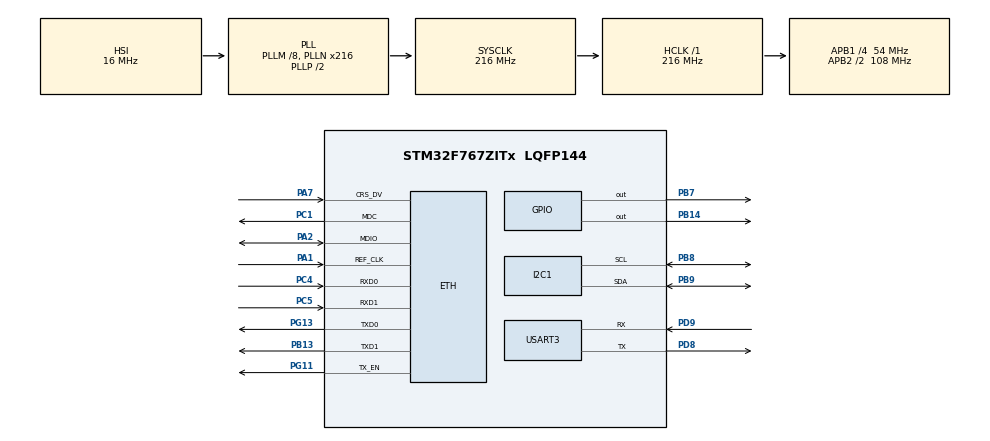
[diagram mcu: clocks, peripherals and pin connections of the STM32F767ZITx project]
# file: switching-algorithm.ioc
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CORTEX_M7.CPU_DCache=Disabled
CORTEX_M7.CPU_ICache=Disabled
CORTEX_M7.default_mode_Activation=1
Dma.I2C1_RX.0.Direction=DMA_PERIPH_TO_MEMORY
Dma.I2C1_RX.0.FIFOMode=DMA_FIFOMODE_DISABLE
Dma.I2C1_RX.0.Instance=DMA1_Stream0
Dma.I2C1_RX.0.MemDataAlignment=DMA_MDATAALIGN_BYTE
Dma.I2C1_RX.0.MemInc=DMA_MINC_ENABLE
Dma.I2C1_RX.0.Mode=DMA_NORMAL
Dma.I2C1_RX.0.PeriphDataAlignment=DMA_PDATAALIGN_BYTE
Dma.I2C1_RX.0.PeriphInc=DMA_PINC_DISABLE
Dma.I2C1_RX.0.Priority=DMA_PRIORITY_LOW
Dma.I2C1_TX.1.Direction=DMA_MEMORY_TO_PERIPH
Dma.I2C1_TX.1.FIFOMode=DMA_FIFOMODE_DISABLE
Dma.I2C1_TX.1.Instance=DMA1_Stream6
Dma.I2C1_TX.1.MemDataAlignment=DMA_MDATAALIGN_BYTE
Dma.I2C1_TX.1.MemInc=DMA_MINC_ENABLE
Dma.I2C1_TX.1.Mode=DMA_NORMAL
Dma.I2C1_TX.1.PeriphDataAlignment=DMA_PDATAALIGN_BYTE
Dma.I2C1_TX.1.PeriphInc=DMA_PINC_DISABLE
Dma.I2C1_TX.1.Priority=DMA_PRIORITY_LOW
Dma.Request0=I2C1_RX
Dma.Request1=I2C1_TX
ETH.MediaInterface=HAL_ETH_RMII_MODE
FREERTOS.Tasks01=defaultTask,2,256,StartDefaultTask,Default,NULL,Dynamic,NULL,NULL;eth_task,-1,1024,eth_taskENTRY,Default,NULL,Dynamic,NULL,NULL
FREERTOS.configTOTAL_HEAP_SIZE=32000
I2C1.OwnAddress=0x12
I2C1.Timing=0x20404768
LWIP.BSP.number=1
LWIP.IP_ADDRESS=192.168.000.010
LWIP.LWIP_COMPAT_SOCKETS=0
LWIP.LWIP_DHCP=0
LWIP.LWIP_STATS=1
LWIP.LWIP_STATS_DISPLAY=1
LWIP.NETMASK_ADDRESS=255.255.255.000
LWIP.Version=v2.1.2_Cube
LWIP0.BSP.STBoard=false
LWIP0.BSP.api=BSP_COMPONENT_DRIVER
LWIP0.BSP.component=LAN8742
LWIP0.BSP.instance=LAN8742
LWIP0.BSP.name=Driver_PHY
LWIP0.BSP.semaphore=S_LAN8742
LWIP0.BSP.solution=LAN8742
Mcu.Family=STM32F7
Mcu.Name=STM32F767ZITx
Mcu.Package=LQFP144
NVIC.DMA1_Stream0_IRQn=true\:5\:0\:false\:false\:true\:true\:false\:true\:true
NVIC.DMA1_Stream6_IRQn=true\:5\:0\:false\:false\:true\:true\:false\:true\:true
NVIC.ETH_IRQn=true\:5\:0\:false\:false\:true\:true\:true\:true\:true
NVIC.I2C1_ER_IRQn=true\:5\:0\:false\:false\:true\:true\:true\:true\:true
NVIC.I2C1_EV_IRQn=true\:5\:0\:false\:false\:true\:true\:true\:true\:true
NVIC.PriorityGroup=NVIC_PRIORITYGROUP_4
NVIC.TIM1_UP_TIM10_IRQn=true\:15\:0\:false\:false\:true\:false\:false\:true\:true
NVIC.TimeBase=TIM1_UP_TIM10_IRQn
NVIC.TimeBaseIP=TIM1
PA1.Mode=RMII
PA1.Signal=ETH_REF_CLK
PA2.Mode=RMII
PA2.Signal=ETH_MDIO
PA7.Mode=RMII
PA7.Signal=ETH_CRS_DV
PB13.Mode=RMII
PB13.Signal=ETH_TXD1
PB14.Signal=GPIO_Output
PB7.Signal=GPIO_Output
PB8.GPIO_Pu=GPIO_PULLUP
PB8.Mode=I2C
PB8.Signal=I2C1_SCL
PB9.GPIO_Pu=GPIO_PULLUP
PB9.Mode=I2C
PB9.Signal=I2C1_SDA
PC1.Mode=RMII
PC1.Signal=ETH_MDC
PC4.Mode=RMII
PC4.Signal=ETH_RXD0
PC5.Mode=RMII
PC5.Signal=ETH_RXD1
PD8.Mode=Asynchronous
PD8.Signal=USART3_TX
PD9.Mode=Asynchronous
PD9.Signal=USART3_RX
PG11.Mode=RMII
PG11.Signal=ETH_TX_EN
PG13.Mode=RMII
PG13.Signal=ETH_TXD0
PH0/OSC_IN.Mode=HSE-External-Clock-Source
PH0/OSC_IN.Signal=RCC_OSC_IN
PH1/OSC_OUT.Mode=HSE-External-Clock-Source
PH1/OSC_OUT.Signal=RCC_OSC_OUT
ProjectManager.HeapSize=0x200
ProjectManager.StackSize=0x400
ProjectManager.TargetToolchain=STM32CubeIDE
RCC.AHBFreq_Value=216000000
RCC.APB1CLKDivider=RCC_HCLK_DIV4
RCC.APB1Freq_Value=54000000
RCC.APB1TimFreq_Value=108000000
RCC.APB2CLKDivider=RCC_HCLK_DIV2
RCC.APB2Freq_Value=108000000
RCC.APB2TimFreq_Value=216000000
RCC.CortexFreq_Value=216000000
RCC.HCLKFreq_Value=216000000
RCC.HSE_VALUE=25000000
RCC.HSI_VALUE=16000000
RCC.LSE_VALUE=32768
RCC.PLLM=8
RCC.PLLN=216
RCC.SYSCLKFreq_VALUE=216000000
RCC.SYSCLKSource=RCC_SYSCLKSOURCE_PLLCLK
RCC.USBFreq_Value=216000000
RCC.VCOOutputFreq_Value=432000000
USART3.VirtualMode-Asynchronous=VM_ASYNC
VP_FREERTOS_VS_CMSIS_V1.Mode=CMSIS_V1
VP_LWIP_VS_Enabled.Mode=Enabled
VP_SYS_VS_tim1.Mode=TIM1
board=custom

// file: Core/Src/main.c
/* USER CODE BEGIN Header */
/**
  ******************************************************************************
  * @file           : main.c
  * @brief          : Main program body
  ******************************************************************************
  */
/* USER CODE END Header */
#include "main.h"
#include "cmsis_os.h"
#include "lwip.h"

/* USER CODE BEGIN Includes */
#include "lwip/sockets.h"
#include "lwip/netdb.h"
#include "lwip/opt.h"
#include "lwip/sys.h"
#include "lwip/stats.h"
#include "lwip/udp.h"
#include "d_decision.h"
#include <stdio.h>
#include <string.h>
#include "drv_bt.h"
#include "com_int.h"
#include "d_decision.h"
#include "link_types.h"
#include "drv_rs485.h"
#include "eth_parser.h"
#include "eth_metrics.h"
#include "eth_rx_types.h"
#include "lwip/netif.h"
#include "lwip/ip4_addr.h"
extern struct netif gnetif;
/* USER CODE END Includes */

/* USER CODE BEGIN PD */
extern ETH_DMADescTypeDef DMARxDscrTab[ETH_RXBUFNB];
extern ETH_DMADescTypeDef DMATxDscrTab[ETH_TXBUFNB];
extern ETH_HandleTypeDef heth;
extern ComInterface_t EthernetInterface;

/* USER CODE END PD */

/* USER CODE BEGIN PM */
static uint8_t i2c_rx_buf[32];
/* USER CODE END PM */

static osThreadId g_i2c_task_handle = NULL;
I2C_HandleTypeDef hi2c1;
DMA_HandleTypeDef hdma_i2c1_rx;
DMA_HandleTypeDef hdma_i2c1_tx;

UART_HandleTypeDef huart3;

osThreadId defaultTaskHandle;
osThreadId eth_taskHandle;
/* USER CODE BEGIN PV */
static uint8_t g_rs485_ready = 0U;
static struct udp_pcb *g_rx_pcb = NULL;
static volatile uint8_t g_i2c_rx_done = 0;
static volatile uint16_t i2c_rx_buf_len = 0;
static rx_metrics_t g_rx_direct;
static rx_metrics_t g_rx_plc;
static rx_metrics_t g_rx_eth3;
static rx_metrics_t g_rx_bt;
static rx_metrics_t g_rx_rs485;
link_info_t g_links[DECISION_MAX_LINKS];
decision_config_t g_decision_cfg;
decision_result_t g_last_decision;
osThreadId rs_taskHandle;

rs485_if_t g_rs485;
static link_type_t g_active_link = LINK_ETH_DIRECT;
static uint32_t g_last_switch_tick = 0U;

/* USER CODE END PV */

void SystemClock_Config(void);
static void MPU_Config(void);
static void MX_GPIO_Init(void);
static void MX_DMA_Init(void);
static void MX_USART3_UART_Init(void);
static void MX_I2C1_Init(void);
void StartDefaultTask(void const * argument);
void eth_taskENTRY(void const * argument);

/* USER CODE BEGIN PFP */
static void App_UpdateRsStub(uint8_t eth_ok);
static const char *App_LinkTypeToStr(link_type_t type);
static void App_InitLinks(void);
static void App_InitDecisionConfig(void);
static link_info_t *App_GetLink(link_type_t type);
static void App_RunDecision(void);

static void App_UpdateBtLink(void);
static void App_UpdateRsStub(uint8_t eth_ok);
static void MX_ETH_Init(void);
void rs_taskENTRY(void const * argument);

static void App_InitRs485Placeholder(void);
static void App_UpdateRsPath(uint8_t eth_ok);

static void Eth_RxInit(void);
static void Eth_UdpRecvCallback(void *arg,
                                struct udp_pcb *pcb,
                                struct pbuf *p,
                                const ip_addr_t *addr,
                                u16_t port);

static rx_metrics_t *Eth_GetMetricsByPath(uint8_t path_id);
static link_type_t Eth_GetLinkTypeByPath(uint8_t path_id);
/* USER CODE END PFP */

/* USER CODE BEGIN 0 */

#ifdef __GNUC__
#define PUTCHAR_PROTOTYPE int __io_putchar(int ch)
#else
#define PUTCHAR_PROTOTYPE int fputc(int ch, FILE *f)
#endif
static void App_PrintNetifInfo(void)
{
    const ip4_addr_t *ip = netif_ip4_addr(&gnetif);
    const ip4_addr_t *nm = netif_ip4_netmask(&gnetif);
    const ip4_addr_t *gw = netif_ip4_gw(&gnetif);

    char ip_str[16];
    char nm_str[16];
    char gw_str[16];

    ip4addr_ntoa_r(ip, ip_str, sizeof(ip_str));
    ip4addr_ntoa_r(nm, nm_str, sizeof(nm_str));
    ip4addr_ntoa_r(gw, gw_str, sizeof(gw_str));

    printf("[LWIP_INIT] IP=%s MASK=%s GW=%s\r\n", ip_str, nm_str, gw_str);
}
PUTCHAR_PROTOTYPE
{
    HAL_UART_Transmit(&huart3, (uint8_t *)&ch, 1, 0xFFFF);
    return ch;
}

/* Automaticka tabulka IP → linka.
 * Prva neznama IP dostane ETH_DIRECT, druha ETH_PLC, dalsie sa zahadia. */
typedef struct
{
    uint32_t      ip;
    link_type_t   link_type;
    rx_metrics_t *metrics;
} ip_link_map_t;

static ip_link_map_t g_ip_map[3] = {0};
static uint8_t       g_ip_map_count = 0U;

void Eth_InitIpMap(void)
{
    memset(g_ip_map, 0, sizeof(g_ip_map));
    g_ip_map_count = 0U;
}

static rx_metrics_t *Eth_GetMetricsByIp(uint32_t src_ip)
{
    /* Hladaj v existujacej tabulke */
    for (uint8_t i = 0U; i < g_ip_map_count; i++)
    {
        if (g_ip_map[i].ip == src_ip)
            return g_ip_map[i].metrics;
    }

    /* Neznama IP — priraď k dalšej volnej linke */
    if (g_ip_map_count >= 3U)
        return NULL;

    link_type_t   new_type;
    rx_metrics_t *new_metrics;

    if (g_ip_map_count == 0U)
    {
        new_type    = LINK_ETH_DIRECT;
        new_metrics = &g_rx_direct;
    }
    else if (g_ip_map_count == 1U)
    {
        new_type    = LINK_ETH_PLC;
        new_metrics = &g_rx_plc;
    }
    else
    {
        new_type    = LINK_ETH_3;
        new_metrics = &g_rx_eth3;
    }

    g_ip_map[g_ip_map_count].ip        = src_ip;
    g_ip_map[g_ip_map_count].link_type = new_type;
    g_ip_map[g_ip_map_count].metrics   = new_metrics;
    g_ip_map_count++;

    /* Log ako IP adresa */
    uint8_t b0 = (src_ip      ) & 0xFFU;
    uint8_t b1 = (src_ip >>  8) & 0xFFU;
    uint8_t b2 = (src_ip >> 16) & 0xFFU;
    uint8_t b3 = (src_ip >> 24) & 0xFFU;
    printf("[IP_LEARN] %u.%u.%u.%u → link=%u\r\n",
           b0, b1, b2, b3, (unsigned)new_type);

    return new_metrics;
}

static link_type_t Eth_GetLinkTypeByIp(uint32_t src_ip)
{
    for (uint8_t i = 0U; i < g_ip_map_count; i++)
    {
        if (g_ip_map[i].ip == src_ip)
            return g_ip_map[i].link_type;
    }
    return LINK_NONE;
}

/* Zachovane pre BT/RS */
static rx_metrics_t *Eth_GetMetricsByPath(uint8_t path_id)
{
    switch ((path_id_t)path_id)
    {
        case PATH_BT:    return &g_rx_bt;
        case PATH_RS485: return &g_rx_rs485;
        default:         return NULL;
    }
}

static link_type_t Eth_GetLinkTypeByPath(uint8_t path_id)
{
    switch ((path_id_t)path_id)
    {
        case PATH_BT:    return LINK_BLUETOOTH;
        case PATH_RS485: return LINK_RS485;
        default:         return LINK_NONE;
    }
}

static void I2C_BusProbe(void)
{
    GPIO_InitTypeDef g = {0};
    __HAL_RCC_GPIOB_CLK_ENABLE();

    /* Test 1: pull-down — externý pull-up to prekoná ak existuje */
    g.Pin  = GPIO_PIN_8 | GPIO_PIN_9;
    g.Mode = GPIO_MODE_INPUT;
    g.Pull = GPIO_PULLDOWN;
    HAL_GPIO_Init(GPIOB, &g);
    HAL_Delay(10);
    uint8_t scl_pd = HAL_GPIO_ReadPin(GPIOB, GPIO_PIN_8);
    uint8_t sda_pd = HAL_GPIO_ReadPin(GPIOB, GPIO_PIN_9);

    /* Test 2: pull-up — ak externý GND drží linie, uvidíš 0 */
    g.Pull = GPIO_PULLUP;
    HAL_GPIO_Init(GPIOB, &g);
    HAL_Delay(10);
    uint8_t scl_pu = HAL_GPIO_ReadPin(GPIOB, GPIO_PIN_8);
    uint8_t sda_pu = HAL_GPIO_ReadPin(GPIOB, GPIO_PIN_9);

    printf("[BUS_PROBE] PULLDOWN: SCL=%u SDA=%u\r\n", scl_pd, sda_pd);
    printf("[BUS_PROBE] PULLUP:   SCL=%u SDA=%u\r\n", scl_pu, sda_pu);

    /* Vrat na AF4 */
    g.Mode      = GPIO_MODE_AF_OD;
    g.Pull      = GPIO_NOPULL;
    g.Alternate = GPIO_AF4_I2C1;
    HAL_GPIO_Init(GPIOB, &g);
}

static void Eth_RxInit(void)
{
    err_t err;

    Metrics_Reset(&g_rx_direct);
    Metrics_Reset(&g_rx_plc);
    Metrics_Reset(&g_rx_eth3);
    Metrics_Reset(&g_rx_bt);
    Metrics_Reset(&g_rx_rs485);

    g_rx_pcb = udp_new();
    if (g_rx_pcb == NULL)
    {
        printf("[RX] udp_new failed\r\n");
        return;
    }

    err = udp_bind(g_rx_pcb, IP_ADDR_ANY, 5005);
    if (err != ERR_OK)
    {
        printf("[RX] udp_bind failed: %d\r\n", (int)err);
        udp_remove(g_rx_pcb);
        g_rx_pcb = NULL;
        return;
    }

    udp_recv(g_rx_pcb, Eth_UdpRecvCallback, NULL);
    printf("[RX] UDP receiver ready on port 5005\r\n");
}

static void F7_I2C_SlavePoll(void)
{
  HAL_StatusTypeDef ret;

  ret = HAL_I2C_Slave_Receive(&hi2c1, i2c_rx_buf, 12, 100);

  if (ret == HAL_OK)
  {
    char msg[128];
    int n = snprintf(msg, sizeof(msg),
                     "I2C RX: %02X %02X %02X %02X %02X %02X %02X %02X %02X %02X %02X %02X\r\n",
                     i2c_rx_buf[0], i2c_rx_buf[1], i2c_rx_buf[2], i2c_rx_buf[3],
                     i2c_rx_buf[4], i2c_rx_buf[5], i2c_rx_buf[6], i2c_rx_buf[7],
                     i2c_rx_buf[8], i2c_rx_buf[9], i2c_rx_buf[10], i2c_rx_buf[11]);

    HAL_UART_Transmit(&huart3, (uint8_t *)msg, n, HAL_MAX_DELAY);
  }
  else
  {
    uint32_t err = HAL_I2C_GetError(&hi2c1);
    printf("[F7 I2C] recv err: ret=%d err=0x%08lX\r\n", ret, (unsigned long)err);
  }
}
static void F7_ReadSCL(void)
{
    GPIO_InitTypeDef g = {0};
    __HAL_RCC_GPIOB_CLK_ENABLE();

    g.Pin  = GPIO_PIN_8;
    g.Mode = GPIO_MODE_INPUT;
    g.Pull = GPIO_PULLDOWN;
    HAL_GPIO_Init(GPIOB, &g);

    for (int i = 0; i < 20; i++)
    {
        printf("[F7] PB8=%u\r\n", HAL_GPIO_ReadPin(GPIOB, GPIO_PIN_8));
        HAL_Delay(200);
    }

    g.Mode      = GPIO_MODE_AF_OD;
    g.Pull      = GPIO_NOPULL;
    g.Alternate = GPIO_AF4_I2C1;
    HAL_GPIO_Init(GPIOB, &g);
}
/* USER CODE END 0 */
void I2C_SlaveIT_Start(void)
{
    HAL_StatusTypeDef ret = HAL_I2C_Slave_Receive_IT(&hi2c1, i2c_rx_buf, 12);
    // Manuálne enable address match interrupt
    I2C1->CR1 |= I2C_CR1_ADDRIE;
    char msg[48];
    int n = snprintf(msg, sizeof(msg), "[I2C] Start ret=%d CR1=0x%08lX\r\n",
                     ret, (unsigned long)I2C1->CR1);
    HAL_UART_Transmit(&huart3, (uint8_t*)msg, n, 1000);
}
int main(void)
{

  /* MPU Configuration--------------------------------------------------------*/
  MPU_Config();

  /* MCU Configuration--------------------------------------------------------*/

  /* Reset of all peripherals, Initializes the Flash interface and the Systick. */
  HAL_Init();

  /* USER CODE BEGIN Init */
  __HAL_RCC_ETH_CLK_ENABLE();
  __HAL_RCC_ETHMAC_FORCE_RESET();
  HAL_Delay(100);
  __HAL_RCC_ETHMAC_RELEASE_RESET();
  HAL_Delay(100);
  /* USER CODE END Init */

  /* Configure the system clock */
  SystemClock_Config();

  /* Initialize all configured peripherals */
  MX_GPIO_Init();
  MX_DMA_Init();
  MX_USART3_UART_Init();

  I2C_BusProbe();
  MX_I2C1_Init();
  uint32_t oar1 = I2C1->OAR1;
   printf("[F7] OAR1 register = 0x%08lX\r\n", (unsigned long)oar1);

  printf("[F7] OwnAddress1=0x%02lX\r\n", (unsigned long)hi2c1.Init.OwnAddress1);
  /* USER CODE BEGIN 2 */
  MX_ETH_Init();
  App_InitLinks();
  App_InitDecisionConfig();
  App_InitRs485Placeholder();

  printf("Halo, zijem!\r\n");
  printf("[APP] Decision system initialized\r\n");

  /* USER CODE END 2 */

  /* Create the thread(s) */
  /* definition and creation of defaultTask */
  osThreadDef(defaultTask, StartDefaultTask, osPriorityHigh, 0, 256);
  defaultTaskHandle = osThreadCreate(osThread(defaultTask), NULL);

  /* definition and creation of eth_task */
  osThreadDef(eth_task, eth_taskENTRY, osPriorityBelowNormal, 0, 1024);
  eth_taskHandle = osThreadCreate(osThread(eth_task), NULL);
  osThreadDef(rs_task, rs_taskENTRY, osPriorityNormal, 0, 1024);
  rs_taskHandle = osThreadCreate(osThread(rs_task), NULL);

  /* Start scheduler */
  osKernelStart();

  /* We should never get here as control is now taken by the scheduler */

  /* Infinite loop */
  while (1)
  {

  }
}

void SystemClock_Config(void)
{
  RCC_OscInitTypeDef RCC_OscInitStruct = {0};
  RCC_ClkInitTypeDef RCC_ClkInitStruct = {0};

  /** Configure the main internal regulator output voltage
  */
  __HAL_RCC_PWR_CLK_ENABLE();
  __HAL_PWR_VOLTAGESCALING_CONFIG(PWR_REGULATOR_VOLTAGE_SCALE1);

  /** Initializes the RCC Oscillators according to the specified parameters
  * in the RCC_OscInitTypeDef structure.
  */
  RCC_OscInitStruct.OscillatorType = RCC_OSCILLATORTYPE_HSI;
  RCC_OscInitStruct.HSIState = RCC_HSI_ON;
  RCC_OscInitStruct.HSICalibrationValue = RCC_HSICALIBRATION_DEFAULT;
  RCC_OscInitStruct.PLL.PLLState = RCC_PLL_ON;
  RCC_OscInitStruct.PLL.PLLSource = RCC_PLLSOURCE_HSI;
  RCC_OscInitStruct.PLL.PLLM = 8;
  RCC_OscInitStruct.PLL.PLLN = 216;
  RCC_OscInitStruct.PLL.PLLP = RCC_PLLP_DIV2;
  RCC_OscInitStruct.PLL.PLLQ = 2;
  RCC_OscInitStruct.PLL.PLLR = 2;
  if (HAL_RCC_OscConfig(&RCC_OscInitStruct) != HAL_OK)
  {
    Error_Handler();
  }

  /** Activate the Over-Drive mode
  */
  if (HAL_PWREx_EnableOverDrive() != HAL_OK)
  {
    Error_Handler();
  }

  /** Initializes the CPU, AHB and APB buses clocks
  */
  RCC_ClkInitStruct.ClockType = RCC_CLOCKTYPE_HCLK|RCC_CLOCKTYPE_SYSCLK
                              |RCC_CLOCKTYPE_PCLK1|RCC_CLOCKTYPE_PCLK2;
  RCC_ClkInitStruct.SYSCLKSource = RCC_SYSCLKSOURCE_PLLCLK;
  RCC_ClkInitStruct.AHBCLKDivider = RCC_SYSCLK_DIV1;
  RCC_ClkInitStruct.APB1CLKDivider = RCC_HCLK_DIV4;
  RCC_ClkInitStruct.APB2CLKDivider = RCC_HCLK_DIV2;

  if (HAL_RCC_ClockConfig(&RCC_ClkInitStruct, FLASH_LATENCY_7) != HAL_OK)
  {
    Error_Handler();
  }
}

static void MX_I2C1_Init(void)
{

  hi2c1.Instance = I2C1;
  hi2c1.Init.Timing = 0x10909CEC;
  hi2c1.Init.OwnAddress1 = 0x24;
  hi2c1.Init.AddressingMode = I2C_ADDRESSINGMODE_7BIT;
  hi2c1.Init.DualAddressMode = I2C_DUALADDRESS_DISABLE;
  hi2c1.Init.OwnAddress2 = 0;
  hi2c1.Init.OwnAddress2Masks = I2C_OA2_NOMASK;
  hi2c1.Init.GeneralCallMode = I2C_GENERALCALL_DISABLE;
  hi2c1.Init.NoStretchMode = I2C_NOSTRETCH_DISABLE;
  if (HAL_I2C_Init(&hi2c1) != HAL_OK)
  {
    Error_Handler();
  }
  HAL_NVIC_SetPriority(I2C1_EV_IRQn, 6, 0);
  HAL_NVIC_EnableIRQ(I2C1_EV_IRQn);
  HAL_NVIC_SetPriority(I2C1_ER_IRQn, 6, 0);
  HAL_NVIC_EnableIRQ(I2C1_ER_IRQn);
  /** Configure Analogue filter
  */
  if (HAL_I2CEx_ConfigAnalogFilter(&hi2c1, I2C_ANALOGFILTER_ENABLE) != HAL_OK)
  {
    Error_Handler();
  }

  /** Configure Digital filter
  */
  if (HAL_I2CEx_ConfigDigitalFilter(&hi2c1, 0) != HAL_OK)
  {
    Error_Handler();
  }
  /* USER CODE BEGIN I2C1_Init 2 */
  printf("[F7] I2C OwnAddress1=0x%02lX\r\n", (unsigned long)hi2c1.Init.OwnAddress1);
  /* USER CODE END I2C1_Init 2 */

}

static void MX_USART3_UART_Init(void)
{

  huart3.Instance = USART3;
  huart3.Init.BaudRate = 115200;
  huart3.Init.WordLength = UART_WORDLENGTH_8B;
  huart3.Init.StopBits = UART_STOPBITS_1;
  huart3.Init.Parity = UART_PARITY_NONE;
  huart3.Init.Mode = UART_MODE_TX_RX;
  huart3.Init.HwFlowCtl = UART_HWCONTROL_NONE;
  huart3.Init.OverSampling = UART_OVERSAMPLING_16;
  huart3.Init.OneBitSampling = UART_ONE_BIT_SAMPLE_DISABLE;
  huart3.AdvancedInit.AdvFeatureInit = UART_ADVFEATURE_NO_INIT;
  if (HAL_UART_Init(&huart3) != HAL_OK)
  {
    Error_Handler();
  }

}

static void MX_DMA_Init(void)
{

  /* DMA controller clock enable */
  __HAL_RCC_DMA1_CLK_ENABLE();

  /* DMA interrupt init */
  /* DMA1_Stream0_IRQn interrupt configuration */
  HAL_NVIC_SetPriority(DMA1_Stream0_IRQn, 5, 0);
  HAL_NVIC_EnableIRQ(DMA1_Stream0_IRQn);
  /* DMA1_Stream6_IRQn interrupt configuration */
  HAL_NVIC_SetPriority(DMA1_Stream6_IRQn, 5, 0);
  HAL_NVIC_EnableIRQ(DMA1_Stream6_IRQn);

}

static void MX_GPIO_Init(void)
{
  GPIO_InitTypeDef GPIO_InitStruct = {0};

  /* GPIO Ports Clock Enable */
  __HAL_RCC_GPIOH_CLK_ENABLE();
  __HAL_RCC_GPIOC_CLK_ENABLE();
  __HAL_RCC_GPIOA_CLK_ENABLE();
  __HAL_RCC_GPIOB_CLK_ENABLE();
  __HAL_RCC_GPIOD_CLK_ENABLE();
  __HAL_RCC_GPIOG_CLK_ENABLE();

  /*Configure GPIO pin Output Level */
  HAL_GPIO_WritePin(GPIOB, GPIO_PIN_14|GPIO_PIN_7, GPIO_PIN_RESET);

  /*Configure GPIO pins : PB14 PB7 */
  GPIO_InitStruct.Pin = GPIO_PIN_14|GPIO_PIN_7;
  GPIO_InitStruct.Mode = GPIO_MODE_OUTPUT_PP;
  GPIO_InitStruct.Pull = GPIO_NOPULL;
  GPIO_InitStruct.Speed = GPIO_SPEED_FREQ_LOW;
  HAL_GPIO_Init(GPIOB, &GPIO_InitStruct);

}

/* USER CODE BEGIN 4 */

static void App_UpdateBtLink(void)
{
    bt_i2c_metrics_t btm;
    link_info_t *bt_link = App_GetLink(LINK_BLUETOOTH);

    if (bt_link == NULL)
        return;

    bt_link->enabled = true;
    bt_link->metrics.security_ok = true;

    if (BT_I2C_ReadMetrics(&btm) != HAL_OK)
    {
        printf("[BT] I2C read FAILED\r\n");
        bt_link->state = LINK_STATE_DOWN;
        bt_link->metrics.measurement_valid = false;
        bt_link->metrics.packet_loss_permille = 1000U;
        bt_link->metrics.jitter_ms = 0U;
        bt_link->metrics.rtt_ms = 1000U;
        bt_link->metrics.signal_dbm = -128;
        return;
    }

    printf("[BT_RAW] avail=%u rssi=%d loss=%u rtt=%u jitter=%u\r\n",
           (unsigned)btm.available,
           (int)btm.rssi,
           (unsigned)btm.pkt_error_rate,
           (unsigned)btm.rtt_ms,
           (unsigned)btm.jitter_ms);

    bt_link->metrics.measurement_valid = (btm.available != 0U);
    bt_link->metrics.signal_dbm = btm.rssi;

    if (btm.pkt_error_rate > 1000U)
        btm.pkt_error_rate = 1000U;

    bt_link->metrics.packet_loss_permille = btm.pkt_error_rate;

    if (btm.available)
    {
        bt_link->state = LINK_STATE_UP;
        bt_link->metrics.rtt_ms    = btm.rtt_ms;
        bt_link->metrics.jitter_ms = btm.jitter_ms;
    }
    else
    {
        bt_link->state = LINK_STATE_DOWN;
        bt_link->metrics.rtt_ms = 1000U;
        bt_link->metrics.jitter_ms = 0U;
    }

    printf("[BT_LINK] valid=%u state=%d rtt=%lu loss=%lu jitter=%lu signal=%d\r\n",
           (unsigned)bt_link->metrics.measurement_valid,
           bt_link->state,
           (unsigned long)bt_link->metrics.rtt_ms,
           (unsigned long)bt_link->metrics.packet_loss_permille,
           (unsigned long)bt_link->metrics.jitter_ms,
           (int)bt_link->metrics.signal_dbm);
}
static void App_UpdateEthLinkHealth(void)
{
    uint32_t now = HAL_GetTick();
    const uint32_t timeout_ms = 2000U;

    link_info_t *eth_direct = App_GetLink(LINK_ETH_DIRECT);
    link_info_t *eth_plc  = App_GetLink(LINK_ETH_PLC);
    link_info_t *eth3     = App_GetLink(LINK_ETH_3);

    Metrics_Age(&g_rx_direct, now, timeout_ms);
    Metrics_Age(&g_rx_plc, now, timeout_ms);
    Metrics_Age(&g_rx_eth3, now, timeout_ms);

    Metrics_ApplyToLink(eth_direct, &g_rx_direct);
    Metrics_ApplyToLink(eth_plc, &g_rx_plc);
    if (eth3 != NULL)
        Metrics_ApplyToLink(eth3, &g_rx_eth3);

    if (Metrics_IsTimedOut(&g_rx_direct, now, timeout_ms) && (eth_direct != NULL))
    {
        eth_direct->state = LINK_STATE_DOWN;
        eth_direct->metrics.measurement_valid = false;
        eth_direct->metrics.packet_loss_permille = 1000U;
        eth_direct->metrics.jitter_ms = 0U;
        eth_direct->metrics.rtt_ms = 1000U;
    }

    if (Metrics_IsTimedOut(&g_rx_plc, now, timeout_ms) && (eth_plc != NULL))
    {
        eth_plc->state = LINK_STATE_DOWN;
        eth_plc->metrics.measurement_valid = false;
        eth_plc->metrics.packet_loss_permille = 1000U;
        eth_plc->metrics.jitter_ms = 0U;
        eth_plc->metrics.rtt_ms = 1000U;
    }
}
static void Eth_UdpRecvCallback(void *arg,
                                struct udp_pcb *pcb,
                                struct pbuf *p,
                                const ip_addr_t *addr,
                                u16_t port)
{
    (void)arg;
    (void)pcb;

    if (p == NULL)
        return;

    printf("[RX_RAW] got UDP len=%u\r\n", (unsigned int)p->tot_len);

    if ((p->payload != NULL) && (p->len > 0U))
    {
        generic_frame_info_t frame;
        uint32_t now_ms = HAL_GetTick();
        uint32_t src_ip = (addr != NULL) ? ip4_addr_get_u32(ip_2_ip4(addr)) : 0U;

        /* Mapovanie podla zdrojovej IP — path_id sa ignoruje */
        rx_metrics_t *metrics  = Eth_GetMetricsByIp(src_ip);
        link_type_t   link_type = Eth_GetLinkTypeByIp(src_ip);
        link_info_t  *link      = App_GetLink(link_type);

        if ((metrics == NULL) || (link == NULL))
        {
            printf("[RX] unknown src IP=%s, zahadzujem\r\n",
                   (addr != NULL) ? ipaddr_ntoa(addr) : "?");
            pbuf_free(p);
            return;
        }

        if (Generic_ParseFrame((const uint8_t *)p->payload, p->len, &frame))
        {
            printf("[DBG] seq=%lu tx=%lu now=%lu diff=%ld\r\n",
                   (unsigned long)frame.seq,
                   (unsigned long)frame.tx_ts_ms,
                   (unsigned long)now_ms,
                   (long)((int32_t)(now_ms - frame.tx_ts_ms)));

            Metrics_OnFrameReceived(metrics, &frame, now_ms);
            Metrics_ApplyToLink(link, metrics);

            printf("RX path=%u seq=%lu len=%lu loss=%lu permille jitter=%lu ms tp=%lu bps rel=%lu/1000 texp_valid=%u texp=%lu ms terr=%lu ms miss=%lu\r\n",
                   (unsigned int)frame.path_id,
                   (unsigned long)frame.seq,
                   (unsigned long)frame.payload_len,
                   (unsigned long)link->metrics.packet_loss_permille,
                   (unsigned long)Metrics_GetJitterMs(metrics),
                   (unsigned long)Metrics_GetThroughputBps(metrics),
                   (unsigned long)link->metrics.reliability_score,
                   (unsigned)MetricsHasExpectedInterval(metrics),
                   (unsigned long)MetricsGetExpectedIntervalMs(metrics),
                   (unsigned long)MetricsGetTimingErrorMs(metrics),
                   (unsigned long)MetricsGetMissedIntervals(metrics));

            printf("CSV,%lu,%u,%u,%lu,%lu,%lu,%lu,%lu,%lu,%lu,%lu,%lu\r\n",
                   (unsigned long)now_ms,
                   (unsigned int)link_type,
                   (unsigned int)frame.path_id,
                   (unsigned long)link->metrics.rtt_ms,
                   (unsigned long)Metrics_GetJitterMs(metrics),
                   (unsigned long)Metrics_GetThroughputBps(metrics),
                   (unsigned long)link->metrics.packet_loss_permille,
                   (unsigned long)link->metrics.reliability_score,
                   (unsigned long)metrics->t_expected_ms,
                   (unsigned long)MetricsGetTimingErrorMs(metrics),
                   (unsigned long)MetricsGetMissedIntervals(metrics),
                   (unsigned long)frame.seq);

            printf("[RX_SRC] src=%s:%u link=%u seq=%lu\r\n",
                   (addr != NULL) ? ipaddr_ntoa(addr) : "?",
                   (unsigned)port,
                   (unsigned int)link_type,
                   (unsigned long)frame.seq);

            App_RunDecision();
        }
        else
        {
            printf("[RX] parse failed len=%u src=%s\r\n",
                   (unsigned int)p->len,
                   (addr != NULL) ? ipaddr_ntoa(addr) : "?");
        }
    }

    pbuf_free(p);
}
static void App_InitRs485Placeholder(void)
{
    (void)g_rs485;
    g_rs485_ready = 0U;
    printf("[RS485] Placeholder mode active\r\n");
}

static void App_MaybeHardResetEthMetrics(uint32_t now_ms)
{
    const uint32_t hard_reset_timeout_ms = 10000U; // napr. 10 s bez framov

    if (Metrics_IsTimedOut(&g_rx_direct, now_ms, hard_reset_timeout_ms)) {
        Metrics_Reset(&g_rx_direct);
    }
    if (Metrics_IsTimedOut(&g_rx_plc, now_ms, hard_reset_timeout_ms)) {
        Metrics_Reset(&g_rx_plc);
    }
    if (Metrics_IsTimedOut(&g_rx_eth3, now_ms, hard_reset_timeout_ms)) {
        Metrics_Reset(&g_rx_eth3);
    }
}

static void App_UpdateRsPath(uint8_t eth_ok)
{
    if (g_rs485_ready)
    {
        /* Neskôr sem pôjde reálny RS485 update */
        App_UpdateRsStub(eth_ok);
    }
    else
    {
        App_UpdateRsStub(eth_ok);
    }
}

static void MX_ETH_Init(void)
{
    heth.Instance = ETH;
    heth.Init.MACAddr = (uint8_t *)"0080E1";
    heth.Init.MediaInterface = HAL_ETH_RMII_MODE;
    heth.Init.TxDesc = DMATxDscrTab;
    heth.Init.RxDesc = DMARxDscrTab;
    heth.Init.RxBuffLen = 1524;

    if (HAL_ETH_Init(&heth) != HAL_OK)
    {
        printf("ETH Hardware Error!\r\n");
    }
}

static const char *App_LinkTypeToStr(link_type_t type)
{
    switch (type)
    {
        case LINK_BLUETOOTH:  return "BT";
        case LINK_ETH_DIRECT: return "ETH_DIRECT";
        case LINK_ETH_PLC:    return "ETH_PLC";
        case LINK_RS485:      return "RS485";
        default:              return "UNKNOWN";
    }
}

static void App_InitLinks(void)
{
    memset(g_links, 0, sizeof(g_links));

    g_links[0].type = LINK_BLUETOOTH;
    g_links[0].enabled = true;
    g_links[0].state = LINK_STATE_DOWN;
    g_links[0].thresholds.max_loss_percent       = 30U;
    g_links[0].thresholds.threshold_loss_percent = 15U;
    g_links[0].thresholds.threshold_rtt_ms       = 200U;
    g_links[0].thresholds.threshold_jitter_ms    = 50U;

    g_links[1].type = LINK_ETH_DIRECT;
    g_links[1].enabled = true;
    g_links[1].state = LINK_STATE_DOWN;
    g_links[1].thresholds.max_loss_percent       = 5U;
    g_links[1].thresholds.threshold_loss_percent = 2U;
    g_links[1].thresholds.threshold_rtt_ms       = 50U;
    g_links[1].thresholds.threshold_jitter_ms    = 10U;

    g_links[2].type = LINK_ETH_PLC;
    g_links[2].enabled = true;
    g_links[2].state = LINK_STATE_DOWN;
    g_links[2].thresholds.max_loss_percent       = 10U;
    g_links[2].thresholds.threshold_loss_percent = 5U;
    g_links[2].thresholds.threshold_rtt_ms       = 100U;
    g_links[2].thresholds.threshold_jitter_ms    = 25U;

    g_links[3].type = LINK_RS485;
    g_links[3].enabled = true;
    g_links[3].state = LINK_STATE_DOWN;
    g_links[3].thresholds.max_loss_percent       = 10U;
    g_links[3].thresholds.threshold_loss_percent = 5U;
    g_links[3].thresholds.threshold_rtt_ms       = 150U;
    g_links[3].thresholds.threshold_jitter_ms    = 30U;

    g_links[4].type = LINK_ETH_3;
    g_links[4].enabled = true;
    g_links[4].state = LINK_STATE_DOWN;
    g_links[4].thresholds.max_loss_percent       = 10U;
    g_links[4].thresholds.threshold_loss_percent = 5U;
    g_links[4].thresholds.threshold_rtt_ms       = 100U;
    g_links[4].thresholds.threshold_jitter_ms    = 25U;
    g_rx_direct.t_expected_ms = 0U;
    g_rx_direct.expectedvalid = 0U;
    g_rx_direct.learnedintervalsum = 0U;
    g_rx_direct.learnedintervalcount = 0U;

    g_rx_plc.t_expected_ms = 0U;
    g_rx_plc.expectedvalid = 0U;
    g_rx_plc.learnedintervalsum = 0U;
    g_rx_plc.learnedintervalcount = 0U;

    g_rx_bt.t_expected_ms = 0U;

    Eth_InitIpMap();
}

static void App_InitDecisionConfig(void)
{
    /* Rozhoduj cisto podla reliability_score (0-1000).
     * Linka s najvyssim reliability_score vyhrava.
     * reliability_score uz v sebe obsahuje loss, timing aj availability. */
    g_decision_cfg.algorithm       = DECISION_ALG_RELIABILITY_ONLY;
    g_decision_cfg.security_policy = SECURITY_PREFERRED;

    /* Tieto hodnoty sa pri RELIABILITY_ONLY nepouzivaju,
     * su tu len pre pripad prepnutia na iny algoritmus. */
    g_decision_cfg.max_rtt_ms        = 1000U;
    g_decision_cfg.max_jitter_ms     = 300U;
    g_decision_cfg.max_loss_permille = 1000U;

    g_decision_cfg.weight_rtt         = 2;
    g_decision_cfg.weight_jitter      = 1;
    g_decision_cfg.weight_loss        = 3;
    g_decision_cfg.weight_signal      = 0;
    g_decision_cfg.weight_security    = 0;
    g_decision_cfg.weight_reliability = 6;

    g_decision_cfg.threshold_rtt_ms          = 800U;
    g_decision_cfg.threshold_jitter_ms       = 200U;
    g_decision_cfg.threshold_loss_permille   = 300U;

    g_decision_cfg.recovery_rtt_ms           = 400U;
    g_decision_cfg.recovery_jitter_ms        = 100U;
    g_decision_cfg.recovery_loss_permille    = 100U;

    /* Hystereza: prepni len ak novy kandidat je o >50 bodov lepsi
     * (skore je 0-1000, takze 50 = 5%) */
    g_decision_cfg.switch_hysteresis_score = 50;
    g_decision_cfg.min_switch_interval_ms  = 3000U;
}

static link_info_t *App_GetLink(link_type_t type)
{
    for (uint32_t i = 0U; i < DECISION_MAX_LINKS; i++)
    {
        if (g_links[i].type == type)
            return &g_links[i];
    }

    return NULL;
}

static int32_t App_GetCurrentLinkScore(void)
{
    decision_result_t current_result;
    link_info_t *current_link = App_GetLink(g_active_link);

    if (current_link == NULL)
        return (-2147483647 - 1);

    current_result = decision_select_link(current_link, 1U, &g_decision_cfg);

    if (!current_result.valid)
        return (-2147483647 - 1);

    return current_result.selected_score;
}

static void App_RunDecision(void)
{
    uint32_t now = HAL_GetTick();
    decision_result_t candidate = decision_select_link(g_links, DECISION_MAX_LINKS, &g_decision_cfg);

    if (!candidate.valid)
    {
        printf("[DECISION] no valid link\r\n");
        return;
    }

    if (candidate.selected_link != g_active_link)
    {
        int32_t current_score = App_GetCurrentLinkScore();

        if (current_score == (-2147483647 - 1))
        {
            printf("[DECISION] current link invalid, switching to %s immediately\r\n",
                   App_LinkTypeToStr(candidate.selected_link));
        }
        else
        {
            int32_t score_diff = candidate.selected_score - current_score;

            if (score_diff < g_decision_cfg.switch_hysteresis_score)
            {
            	printf("[DECISION] hold current link (hysteresis), keep=%s\r\n",
            	       App_LinkTypeToStr(g_active_link));
                return;
            }

            if ((now - g_last_switch_tick) < g_decision_cfg.min_switch_interval_ms)
            {
                printf("[DECISION] hold current link (cooldown)\r\n");
                return;
            }
        }

        g_active_link = candidate.selected_link;
        g_last_switch_tick = now;
    }

    g_last_decision = candidate;

    /* --- Vypis stavu liniek --- */
    static const char * const grade_str[] = { "A", "B", "C", "F" };

    /* Helper lambda cez inline funkciu — trieda podla reliability_score */
    #define RELY_GRADE(s) ((s) >= 950U ? "A" : (s) >= 850U ? "B" : (s) >= 700U ? "C" : "F")

    /* BT — ak je pripojeny */
    {
        const link_info_t *lk = &g_links[0];
        if (lk->metrics.measurement_valid)
        {
            printf("[LINK] %-20s | rel=%4lu (%s) | loss=%4lu permille"
                   " | jitter=%4lums | arr=%4lums\r\n",
                   "Bluetooth",
                   (unsigned long)lk->metrics.reliability_score,
                   RELY_GRADE(lk->metrics.reliability_score),
                   (unsigned long)lk->metrics.packet_loss_permille,
                   (unsigned long)lk->metrics.jitter_ms,
                   (unsigned long)lk->metrics.rtt_ms);
        }
    }

    /* ETH linky — podla IP learning tabulky */
    for (uint8_t i = 0U; i < g_ip_map_count; i++)
    {
        const link_info_t *lk = App_GetLink(g_ip_map[i].link_type);
        const rx_metrics_t *mx = g_ip_map[i].metrics;
        if ((lk == NULL) || (mx == NULL) || !lk->metrics.measurement_valid)
            continue;

        /* IP adresa zo 4 bajtov */
        uint32_t ip = g_ip_map[i].ip;
        char ip_str[20];
        snprintf(ip_str, sizeof(ip_str), "%lu.%lu.%lu.%lu",
                 (unsigned long)( ip        & 0xFFU),
                 (unsigned long)((ip >>  8) & 0xFFU),
                 (unsigned long)((ip >> 16) & 0xFFU),
                 (unsigned long)((ip >> 24) & 0xFFU));

        char name[24];
        snprintf(name, sizeof(name), "ETH-%u (%s)", i + 1U, ip_str);

        if (MetricsHasExpectedInterval(mx))
        {
            printf("[LINK] %-28s | rel=%4lu (%s) | loss=%4lu permille"
                   " | jitter=%4lums | arr=%4lums"
                   " | exp=%4lums | err=%4lums | missed=%lu\r\n",
                   name,
                   (unsigned long)lk->metrics.reliability_score,
                   RELY_GRADE(lk->metrics.reliability_score),
                   (unsigned long)lk->metrics.packet_loss_permille,
                   (unsigned long)lk->metrics.jitter_ms,
                   (unsigned long)lk->metrics.rtt_ms,
                   (unsigned long)MetricsGetExpectedIntervalMs(mx),
                   (unsigned long)MetricsGetTimingErrorMs(mx),
                   (unsigned long)MetricsGetMissedIntervals(mx));
        }
        else
        {
            printf("[LINK] %-28s | rel=%4lu (%s) | loss=%4lu permille"
                   " | jitter=%4lums | arr=%4lums | missed=%lu\r\n",
                   name,
                   (unsigned long)lk->metrics.reliability_score,
                   RELY_GRADE(lk->metrics.reliability_score),
                   (unsigned long)lk->metrics.packet_loss_permille,
                   (unsigned long)lk->metrics.jitter_ms,
                   (unsigned long)lk->metrics.rtt_ms,
                   (unsigned long)MetricsGetMissedIntervals(mx));
        }
    }

    /* Decision */
    printf("[DECISION] active=%s score=%ld\r\n",
           App_LinkTypeToStr(g_active_link),
           (long)g_last_decision.selected_score);

    #undef RELY_GRADE
}

static inline link_type_t PathIdToLinkType(path_id_t path)
{
    switch (path)
    {
        case PATH_ETH_DIRECT: return LINK_ETH_DIRECT;
        case PATH_ETH_PLC:    return LINK_ETH_PLC;
        case PATH_BT:         return LINK_BLUETOOTH;
        case PATH_RS485:      return LINK_RS485;
        default:              return LINK_NONE;
    }
}
static void App_UpdateRsStub(uint8_t eth_ok)
{
    link_info_t *rs_link = App_GetLink(LINK_RS485);

    if (rs_link == NULL)
        return;

    rs_link->enabled = true;
    rs_link->metrics.measurement_valid = true;
    rs_link->metrics.security_ok = true;

    if (eth_ok)
    {
        rs_link->state = LINK_STATE_UP;
        rs_link->metrics.rtt_ms = 140U;
        rs_link->metrics.jitter_ms = 25U;
        rs_link->metrics.packet_loss_permille = 120U;
        rs_link->metrics.signal_dbm = 0;
    }
    else
    {
        rs_link->state = LINK_STATE_UP;
        rs_link->metrics.rtt_ms = 70U;
        rs_link->metrics.jitter_ms = 10U;
        rs_link->metrics.packet_loss_permille = 20U;
        rs_link->metrics.signal_dbm = 0;
    }
}

void HAL_I2C_AddrCallback(I2C_HandleTypeDef *hi2c,
                          uint8_t TransferDirection,
                          uint16_t AddrMatchCode)
{
    (void)AddrMatchCode;
    if (hi2c->Instance != I2C1) return;

    if (TransferDirection == I2C_DIRECTION_TRANSMIT)
    {
        i2c_rx_buf_len = 12;  // ← pridaj toto
        HAL_I2C_Slave_Seq_Receive_IT(hi2c, i2c_rx_buf, 12, I2C_LAST_FRAME);
    }
}
void HAL_I2C_SlaveRxCpltCallback(I2C_HandleTypeDef *hi2c)
{
    if (hi2c->Instance != I2C1) return;
    g_i2c_rx_done = 1;

}

void HAL_I2C_ListenCpltCallback(I2C_HandleTypeDef *hi2c)
{
    if (hi2c->Instance != I2C1) return;
    HAL_I2C_EnableListen_IT(hi2c);
}

void HAL_I2C_ErrorCallback(I2C_HandleTypeDef *hi2c)
{
    if (hi2c->Instance != I2C1) return;
    printf("[I2C ERR] 0x%08lX\r\n", (unsigned long)HAL_I2C_GetError(hi2c));
    HAL_I2C_EnableListen_IT(hi2c);
}

/* USER CODE END 4 */

typedef struct __attribute__((packed))
{
    uint32_t seq;
    uint32_t tx_ts_ms;
    uint8_t  path_id;
    uint8_t  reserved[3];
} lab_test_hdr_t;

void rs_taskENTRY(void const * argument)
{
    g_i2c_task_handle = osThreadGetId();
    Metrics_Reset(&g_rx_bt);
    HAL_I2C_EnableListen_IT(&hi2c1);
    printf("[I2C TASK] started\r\n");

    static uint32_t bt_rx_count = 0;
    uint32_t last_rx_tick = 0;

    for (;;)
    {
        if (g_i2c_rx_done)
        {
            g_i2c_rx_done = 0;
            last_rx_tick = HAL_GetTick();
            bt_rx_count++;

            if (1)
                printf("[BT_COUNT] %lu\r\n", (unsigned long)bt_rx_count);

            if (i2c_rx_buf_len >= sizeof(lab_test_hdr_t))
            {
                const lab_test_hdr_t *hdr = (const lab_test_hdr_t *)i2c_rx_buf;

                // detekuj reštart servera
                static uint32_t last_fwd_seq = 0;
                if (hdr->seq < last_fwd_seq && last_fwd_seq > 100U)
                {
                    printf("[BT] server restart detected, resetting metrics\r\n");
                    Metrics_Reset(&g_rx_bt);
                }
                last_fwd_seq = hdr->seq;

                static uint32_t last_bt_rx_tick = 0;
                uint32_t now_tick = HAL_GetTick();

                generic_frame_info_t info;
                info.seq         = hdr->seq;
                info.tx_ts_ms    = 0;
                info.payload_len = i2c_rx_buf_len;
                info.path_id     = hdr->path_id;
                info.has_tx_ts   = 0U;

                Metrics_OnFrameReceived(&g_rx_bt, &info, now_tick);
                Metrics_ApplyToLink(App_GetLink(LINK_BLUETOOTH), &g_rx_bt);

                link_info_t *bt_link = App_GetLink(LINK_BLUETOOTH);
                if (bt_link != NULL && last_bt_rx_tick != 0)
                    bt_link->metrics.rtt_ms = now_tick - last_bt_rx_tick;
                last_bt_rx_tick = now_tick;

                App_RunDecision();
            }

        }

        if ((HAL_GetTick() - last_rx_tick) > 2000U)
        {
            last_rx_tick = HAL_GetTick();
            HAL_I2C_EnableListen_IT(&hi2c1);
        }

        osDelay(10);
    }
}
void StartDefaultTask(void const * argument)
{
    MX_LWIP_Init();
    Eth_RxInit();
    App_PrintNetifInfo();
    printf("LWIP OK!\r\n");

    for(;;)
    {
    	  uint8_t eth_ok = 0U;
    	    uint32_t now = HAL_GetTick();
    	    const uint32_t timeout_ms = 2000U;

    	    App_UpdateEthLinkHealth();
    	    App_MaybeHardResetEthMetrics(now);

    	    Metrics_Age(&g_rx_bt, now, timeout_ms);
    	    Metrics_ApplyToLink(App_GetLink(LINK_BLUETOOTH), &g_rx_bt);
    	    if (Metrics_IsTimedOut(&g_rx_bt, now, timeout_ms))
    	    {
    	        link_info_t *bt_link = App_GetLink(LINK_BLUETOOTH);
    	        if (bt_link != NULL)
    	        {
    	            bt_link->state = LINK_STATE_DOWN;
    	            bt_link->metrics.measurement_valid = false;
    	            bt_link->metrics.rtt_ms = 1000U;
    	            bt_link->metrics.jitter_ms = 0U;
    	            bt_link->metrics.packet_loss_permille = 1000U;
    	        }
    	        Metrics_Reset(&g_rx_bt);
    	    }

    	    if (!Metrics_IsTimedOut(&g_rx_direct, now, timeout_ms) ||
    	        !Metrics_IsTimedOut(&g_rx_plc, now, timeout_ms))
    	    {
    	        eth_ok = 1U;
    	    }

    	    App_UpdateRsPath(eth_ok);
    	    App_RunDecision();
    	    osDelay(100);
    }
}
void eth_taskENTRY(void const * argument)
{
  for(;;)
  {
    osDelay(1);
  }
}

 /* MPU Configuration */

void MPU_Config(void)
{
  MPU_Region_InitTypeDef MPU_InitStruct = {0};

  /* Disables the MPU */
  HAL_MPU_Disable();

  /** Initializes and configures the Region and the memory to be protected
  */
  MPU_InitStruct.Enable = MPU_REGION_ENABLE;
  MPU_InitStruct.Number = MPU_REGION_NUMBER0;
  MPU_InitStruct.BaseAddress = 0x0;
  MPU_InitStruct.Size = MPU_REGION_SIZE_4GB;
  MPU_InitStruct.SubRegionDisable = 0x87;
  MPU_InitStruct.TypeExtField = MPU_TEX_LEVEL0;
  MPU_InitStruct.AccessPermission = MPU_REGION_NO_ACCESS;
  MPU_InitStruct.DisableExec = MPU_INSTRUCTION_ACCESS_DISABLE;
  MPU_InitStruct.IsShareable = MPU_ACCESS_SHAREABLE;
  MPU_InitStruct.IsCacheable = MPU_ACCESS_NOT_CACHEABLE;
  MPU_InitStruct.IsBufferable = MPU_ACCESS_NOT_BUFFERABLE;

  HAL_MPU_ConfigRegion(&MPU_InitStruct);
  /* Enables the MPU */
  HAL_MPU_Enable(MPU_PRIVILEGED_DEFAULT);

}

void HAL_TIM_PeriodElapsedCallback(TIM_HandleTypeDef *htim)
{
  if (htim->Instance == TIM1)
  {
    HAL_IncTick();https://github.com/Emekuu/STM32-Switching-algorithm-for-energetic-systems/blob/main/swalg/Core/Src/main.c
  }
}

void Error_Handler(void)
{
  __disable_irq();
  while (1)
  {
  }
}
